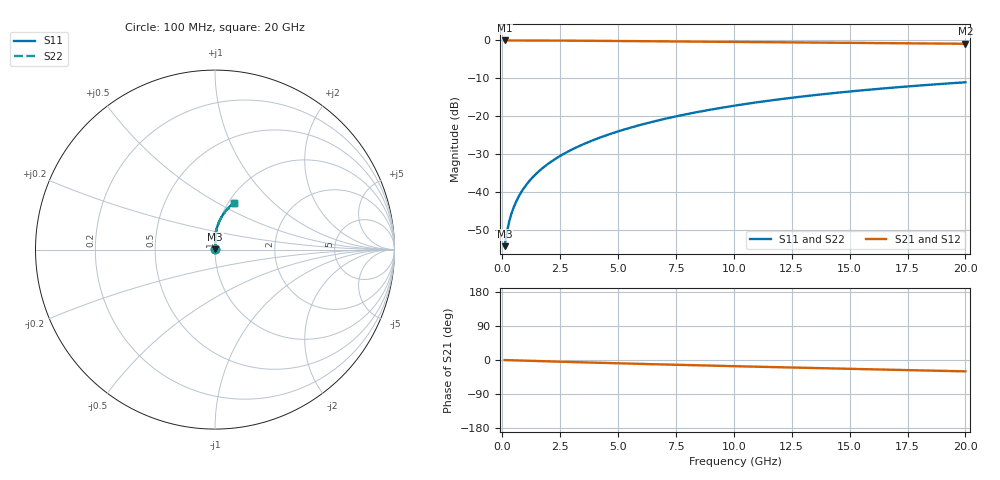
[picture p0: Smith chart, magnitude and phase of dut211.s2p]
! Touchstone file exported from HFSS 2024.1.0
!  File:  C:/UserFiles/LocalFiles/RDL_TSV_Batchsim/temp_RDL_bottom_211_1778700010.aedt
!  Generated:  03:22:33 AM May 14, 2026
!  Design:  RDL_bottom
!  Project:  temp_RDL_bottom_211_1778700010
!  Setup:  Setup1
!  Solution:  Sweep
! Variables:
!  dtsv = 10.80580581um
!  hbump = 3um
!  htsv = 62.19um
!  ldown = 418.45um
!  lrdl = 100um
!  p = 40
!  p1 = 53.48um
!  rhole = 1um
!  t = 450um
!  tdown = 4.7um
!  trdl = 3.915915916um
!  wdown = 24.98um
!  wrdl = 20um
# GHz S MA R 50.000000
! Terminal data exported
! Port[1] = RDL1_T1
! Port[2] = RDL1_T2
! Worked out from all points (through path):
!   200 points, 100 MHz to 20 GHz, reference 50 ohm
!   highest |S21| = -0.01 dB at 100 MHz (marker M1); lowest = -0.9 dB at 20 GHz (marker M2)
!   group delay of S21, straight-line fit = 4.11 ps
!   lowest |S11| = -54.2 dB at 100 MHz (marker M3), VSWR 1.00, Z = 50.1 + j0.132 ohm
!   |S11| at or under -10 dB: start of sweep to end of sweep
!   |S22| runs from -54.2 to -11.0 dB; largest |S21 - S12| = 4.2e-15
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0.1  0.001956 42.3  0.9985 -0.2  0.9985 -0.2  0.001956 42.3
! Gamma 0 0 0 0
! Port Impedance 50 0 50 0
0.2  0.00301 59.6  0.9984 -0.4  0.9984 -0.4  0.00301 59.6
0.3  0.004152 67.1  0.9983 -0.6  0.9983 -0.6  0.004152 67.1
0.4  0.005296 71.4  0.9982 -0.7  0.9982 -0.7  0.005296 71.4
0.5  0.006433 74.2  0.998 -0.9  0.998 -0.9  0.006434 74.2
0.6  0.007569 76.3  0.9979 -1.1  0.9979 -1.1  0.007569 76.3
0.8  0.009847 79.3  0.9977 -1.5  0.9977 -1.5  0.009847 79.3
1.1  0.01331 82.2  0.9972 -2.0  0.9972 -2.0  0.01331 82.2
1.5  0.018 84.5  0.9964 -2.7  0.9964 -2.7  0.018 84.5
1.8  0.02159 85.7  0.9956 -3.3  0.9956 -3.3  0.02159 85.7
2.1  0.02523 86.6  0.9948 -3.8  0.9948 -3.8  0.02523 86.6
2.7  0.03269 87.8  0.9928 -4.9  0.9928 -4.9  0.03268 87.8
3.5  0.04299 88.6  0.9895 -6.2  0.9895 -6.2  0.04298 88.6
4.2  0.05234 88.9  0.9863 -7.4  0.9863 -7.4  0.05234 88.9
5  0.06341 88.8  0.9824 -8.7  0.9824 -8.7  0.06341 88.8
6.8  0.0895 87.6  0.9729 -11.6  0.9729 -11.6  0.08949 87.6
8.4  0.1136 85.7  0.9643 -14.0  0.9643 -14.0  0.1136 85.7
10.1  0.1395 83.3  0.9552 -16.5  0.9552 -16.5  0.1395 83.3
11.7  0.1638 80.9  0.9467 -18.7  0.9467 -18.7  0.1638 80.9
13.4  0.1892 78.2  0.9378 -21.1  0.9378 -21.1  0.1892 78.2
16.7  0.2367 73.0  0.9205 -25.6  0.9205 -25.6  0.2366 73.0
20  0.281 68.0  0.9029 -30.0  0.9029 -30.0  0.281 68.0
